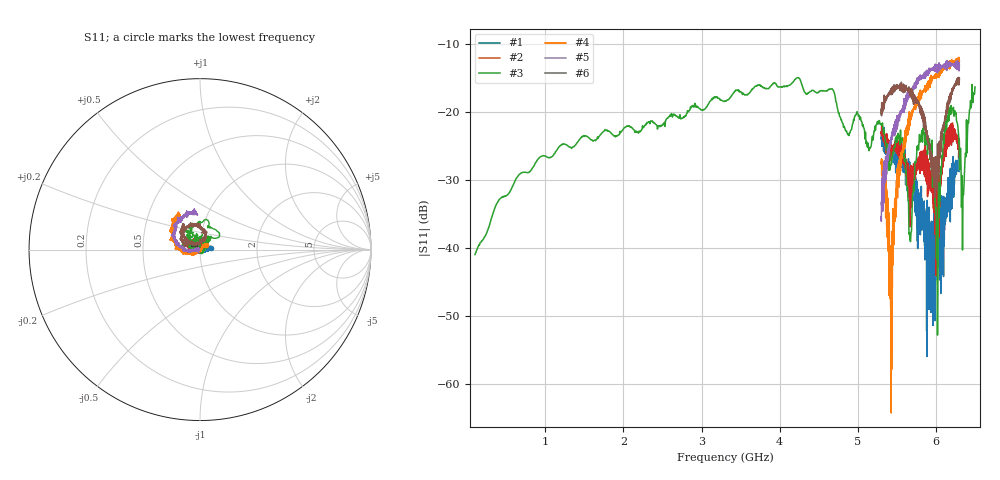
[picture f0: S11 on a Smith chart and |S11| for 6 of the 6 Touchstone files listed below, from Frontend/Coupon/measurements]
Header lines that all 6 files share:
! NanoVNA-App
! S-Parameter data: F S11
# Hz S RI R 50
!  Frequency  S11_Real  S11_Imag
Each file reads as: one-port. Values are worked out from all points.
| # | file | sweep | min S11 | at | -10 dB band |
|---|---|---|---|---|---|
| 1 | coupon_revB_7628_horizontal_10mm_5.3_6.3GHz_nanoVNA_terminated.s1p | 5.3 GHz to 6.3 GHz | -56.0 dB | 5.886 GHz | over 1 GHz wide |
| 2 | coupon_revB_7628_horizontal_10mm_5.3_6.3GHz_nanoVNA_terminated_0.s1p | 5.3 GHz to 6.3 GHz | -44.1 dB | 6.003 GHz | over 1 GHz wide |
| 3 | coupon_revB_7628_horizontal_10mm_100MHz_6.5GHz_nanoVNA_terminated_0.s1p | 100 MHz to 6.5 GHz | -52.8 dB | 6.02 GHz | over 6.4 GHz wide |
| 4 | coupon_revB_7628_horizontal_40mm_5.3_6.3GHz_nanoVNA_terminated.s1p | 5.3 GHz to 6.3 GHz | -64.3 dB | 5.427 GHz | over 1 GHz wide |
| 5 | coupon_revB_7628_horizontal_40mm_masked_5.3_6.3GHz_nanoVNA_terminated.s1p | 5.3 GHz to 6.3 GHz | -36.1 dB | 5.301 GHz | over 1 GHz wide |
| 6 | coupon_revB_7628_horizontal_90mm_5.3_6.3GHz_nanoVNA_terminated.s1p | 5.3 GHz to 6.3 GHz | -32.5 dB | 5.984 GHz | over 1 GHz wide |
